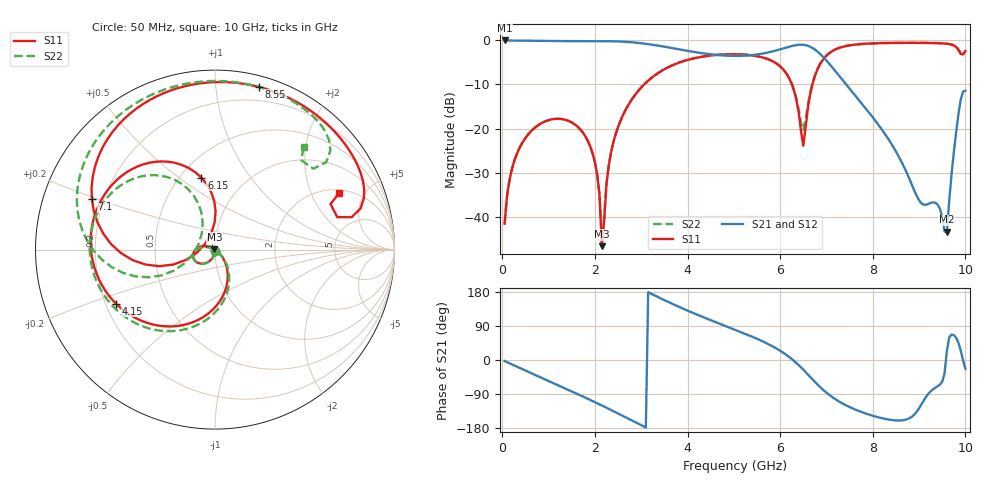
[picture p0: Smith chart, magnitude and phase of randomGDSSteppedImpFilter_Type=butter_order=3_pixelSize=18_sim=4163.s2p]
! freq	dB(S11)	phase(S11)	dB(S12)	phase(S12)
!  dB(S21)	phase(S21)	dB(S22)	phase(S22)
!S-par simulation data
#  GHz  S  DB  R 50
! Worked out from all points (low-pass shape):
!   200 points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, 50 MHz to 10 GHz, reference 50 ohm
!   highest |S21| = 0.00 dB at 50 MHz (marker M1); lowest = -43.4 dB at 9.6 GHz (marker M2)
!   |S21| within 3 dB of the highest: start of sweep to 4.386 GHz; 5.611 GHz to 6.856 GHz (1.245 GHz wide, 20 % of centre)
!   lowest |S11| = -46.7 dB at 2.15 GHz (marker M3), VSWR 1.01, Z = 49.6 + j0.263 ohm
!   |S11| at or under -10 dB: start of sweep to 3.063 GHz; 6.254 GHz to 6.696 GHz (442.7 MHz wide, 6.84 % of centre)
!   |S22| runs from -45.6 to -0.5 dB; largest |S21 - S12| = 0
!   S11 on the Smith chart (normalised r, x): 50 MHz: 1.00, -0.02; 4.15 GHz: 0.24, -0.24; 6.15 GHz: 0.63, +0.61; 7.1 GHz: 0.15, +0.19; 8.55 GHz: 0.09, +1.30; 10 GHz: 2.19, +3.23
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0.05  -41.61 -91.9  -0.00 -2.8  -0.00 -2.8  -41.58 -92.1
0.25  -27.66 -104.2  -0.03 -14.0  -0.03 -14.0  -27.62 -103.8
0.6  -20.84 -124.4  -0.08 -33.3  -0.08 -33.3  -20.85 -123.4
1.75  -21.07 170.9  -0.15 -96.8  -0.15 -96.8  -21.08 175.0
2.05  -30.49 153.1  -0.14 -114.1  -0.14 -114.1  -30.52 161.6
2.15  -46.71 145.0  -0.15 -120.0  -0.15 -120.0  -45.62 -174.7
2.3  -28.32 -41.5  -0.17 -129.0  -0.17 -129.0  -28.23 -42.7
2.45  -21.23 -50.8  -0.21 -138.1  -0.21 -138.1  -21.19 -49.2
3.4  -7.16 -109.7  -1.23 163.8  -1.23 163.8  -7.15 -104.5
4.15  -4.03 -151.4  -2.63 122.6  -2.63 122.6  -4.03 -144.2
5.05  -3.14 164.3  -3.51 78.8  -3.51 78.8  -3.12 174.4
6.15  -7.78 100.7  -1.56 12.1  -1.56 12.1  -7.71 117.0
6.35  -13.46 89.1  -1.06 -7.8  -1.06 -7.8  -13.10 110.1
6.5  -23.91 147.9  -1.00 -25.6  -1.00 -25.6  -20.30 161.9
6.7  -9.83 -163.3  -1.72 -51.4  -1.72 -51.4  -9.57 -154.3
7.1  -2.60 157.7  -5.79 -95.7  -5.79 -95.7  -2.56 172.1
7.65  -0.92 119.0  -12.87 -132.2  -12.87 -132.2  -0.90 136.6
8.35  -0.57 83.9  -22.60 -157.3  -22.60 -157.3  -0.57 104.6
8.55  -0.55 74.8  -26.14 -159.7  -26.14 -159.7  -0.55 96.4
9.6  -0.76 27.6  -43.44 23.6  -43.44 23.6  -0.74 52.3
9.85  -2.14 13.3  -16.75 45.5  -16.75 45.5  -2.07 38.2
10  -2.41 24.4  -11.41 -23.0  -11.41 -23.0  -2.44 49.1
